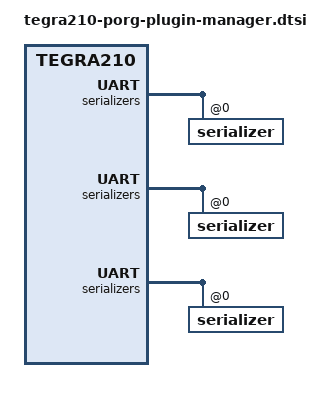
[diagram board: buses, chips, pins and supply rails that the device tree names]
/*
 * Copyright (c) 2019-2020, NVIDIA CORPORATION.  All rights reserved.
 *
 * This program is free software; you can redistribute it and/or modify
 * it under the terms of the GNU General Public License as published by
 * the Free Software Foundation; version 2 of the License.
 *
 * This program is distributed in the hope that it will be useful, but WITHOUT
 * ANY WARRANTY; without even the implied warranty of MERCHANTABILITY or
 * FITNESS FOR A PARTICULAR PURPOSE.  See the GNU General Public License for
 * more details.
 *
 */

/ {
	plugin-manager {
		fragement@0 {
			ids = ">=3448-0000-100", ">=3448-0002-100";
			override@0 {
				target = <&ina3221x>;
				_overlay_ {
					channel@0 {
						ti,rail-name = "POM_5V_IN";
					};
					channel@1 {
						ti,rail-name = "POM_5V_GPU";
					};
				};
			};

		};

		fragment@1 {
			ids = ">=3448-0000-101", ">=3448-0002-101", ">=3448-0003-400";
			override@0 {
				target = <&max77620_sd0>;
				_overlay_ {
					regulator-min-microvolt = <600000>;
				};
			};
		};

		fragment@2 {
			ids = "<3448-0000-200", "<3448-0002-200";
			override@0 {
				target = <&tegra_i2s1>;
				_overlay_ {
					regulator-supplies = "vdd-1v8-audio-hv", "vdd-1v8-audio-hv-bias";
					vdd-1v8-audio-hv-supply = <&max77620_sd3>;
					vdd-1v8-audio-hv-bias-supply = <&max77620_sd3>;
					fsync-width = <15>;
					status = "okay";
				};
			};

			override@1 {
				target = <&tegra_i2s4>;
				_overlay_ {
					status = "disabled";
				};
			};

			override@2 {
				target = <&tegra_sound>;
				_overlay_ {
					nvidia,dai-link-1 {
						cpu-dai = <&tegra_i2s1>;
						cpu-dai-name = "I2S1";
					};
				};
			};
		};

		fragment@3 {
			ids = ">=3448-0002-100";
			override@0 {
				target = <&sdhci3>;
				_overlay_ {
					status = "okay";
				};
			};

			override@1 {
				target = <&sdhci0>;
				_overlay_ {
					status = "disabled";
				};
			};
		};

		fragment@4 {
			ids = "3449-0000-000";
			override@0 {
				target = <&suspend_gpio>;
				_overlay_ {
					status = "disabled";
				};
			};

			override@1 {
				target = <&p3449_vdd_usb_hub_en>;
				_overlay_ {
					gpio = <&gpio TEGRA_GPIO(A, 6) 0>;
					enable-active-low;
					gpio-open-drain;
				};
			};

			override@2 {
				target = <&{/xusb_padctl@7009f000/ports/usb2-1}>;
				_overlay_ {
					vbus-supply = <&p3449_vdd_usb_hub_en>;
				};
			};
		};

		fragment@5 {
			ids = "3449-0000-100", "3449-0000-200";
			override@0 {
				target = <&suspend_gpio>;
				_overlay_ {
					status = "disabled";
				};
			};

			override@1 {
				target = <&p3449_vdd_usb_hub_en>;
				_overlay_ {
					gpio = <&gpio TEGRA_GPIO(A, 6) 0>;
					enable-active-high;
				};
			};

			override@2 {
				target = <&{/xusb_padctl@7009f000/ports/usb2-1}>;
				_overlay_ {
					vbus-supply = <&p3449_vdd_usb_hub_en>;
				};
			};
		};

		fragement@6 {
                        odm-data = "enable-tegra-wdt";
                        override@0 {
                                target = <&tegra_wdt>;
                                _overlay_ {
                                        status = "okay";
                                };
                        };
                };

                fragement@7 {
                        odm-data = "enable-pmic-wdt";
                        override@0 {
                                target = <&spmic_wdt>;
                                _overlay_ {
                                        status = "okay";
                                };
                        };
                };

                fragement@8 {
                        odm-data = "enable-pmic-wdt",
                                "enable-tegra-wdt";
                        override@0 {
                                target = <&soft_wdt>;
                                _overlay_ {
                                        status = "disabled";
                                };
                        };
                };

		fragement@9 {
			ids = "<3448-0000-300", "<3448-0002-300" , ">=3448-0003-000";
			override@0 {
				target = <&max77620_ldo6>;
				_overlay_ {
                                        status = "disabled";
				};
			};
			override@1 {
				target = <&sdhci2>;
				_overlay_ {
					keep-power-in-suspend;
					non-removable;
				};
			};

			/* VEYE327 single sensor module */
			override@2 {
				target = <&veye327_single_cam0>;
				_overlay_ {
					status = "okay";
					mode0{
                    				discontinuous_clk = "yes";
						serdes_pix_clk_hz = "800000000";
					};
				};
			};
			override@3 {
				target = <&cam_module0>;
				_overlay_ {
					status = "okay";
					badge = "porg_front_veye327";
					position = "front";
					orientation = "1";
				};
			};
			override@4 {
				target = <&cam_module0_drivernode0>;
				_overlay_ {
					status = "okay";
					pcl_id = "v4l2_sensor";
					devname = "veye327 6-003b";
					proc-device-tree = "/proc/device-tree/host1x/i2c@546c0000/rbpcv2_veye327_a@3b";
				};
			};
			/*override@5 {
				target = <&cam_module0_drivernode1>;
				_overlay_ {
					status = "okay";
					pcl_id = "v4l2_lens";
					proc-device-tree = "/proc/device-tree/lens_imx219@RBPCV2/";
				};
			};*/

			/* Enable VI ports */
			override@5 {
				target = <&vi_base>;
				_overlay_ {
					num-channels=<1>;
				};
			};
			override@6 {
				target = <&vi_port0>;
				_overlay_ {
					status = "okay";
				};
			};
			override@7 {
				target = <&rbpcv2_veye327_vi_in0>;
				_overlay_ {
					status = "okay";
					port-index = <0>;
					bus-width = <2>;
					remote-endpoint = <&rbpcv2_veye327_csi_out0>;
				};
			};
			/* Enable CSI ports */
			override@8 {
				target = <&csi_base>;
				_overlay_ {
					num-channels=<1>;
				};
			};
			override@9 {
				target = <&csi_chan0>;
				_overlay_ {
					status = "okay";
				};
			};
			override@10 {
				target = <&csi_chan0_port0>;
				_overlay_ {
					status = "okay";
				};
			};
			override@11 {
				target = <&rbpcv2_veye327_csi_in0>;
				_overlay_ {
					status = "okay";
					port-index = <0>;
					bus-width = <2>;
					remote-endpoint = <&rbpcv2_veye327_out0>;
				};
			};
			override@12 {
				target = <&csi_chan0_port1>;
				_overlay_ {
					status = "okay";
				};
			};
			override@13 {
				target = <&rbpcv2_veye327_csi_out0>;
				_overlay_ {
					status = "okay";
					remote-endpoint = <&rbpcv2_veye327_vi_in0>;
				};
			};
			/* tegra-camera-platform settings */
			override@14 {
				target = <&tcp>;
				_overlay_ {
					num_csi_lanes = <2>;
					max_lane_speed = <1500000>;
					min_bits_per_pixel = <8>;
					vi_peak_byte_per_pixel = <2>;
					vi_bw_margin_pct = <25>;
					max_pixel_rate = <240000>;
					isp_peak_byte_per_pixel = <5>;
					isp_bw_margin_pct = <25>;
				};
			};
			/*fpd link 3 */
		            override@15 {
						target = <&single_fpdlink0>;
						_overlay_ {
							status = "okay";
		                            serializers {
		                            	serializer@0{
		                            	continuous-clock;
		                            };
		                        };
			    	};
			    };
			override@16 {
				target = <&cam_module1>;
				_overlay_ {
					status = "disabled";
				};
			};
		};

		fragement@10 {
			ids = ">=3448-0000-300", ">=3448-0002-300";
			
			/* VEYE327 dual sensor module */
			override@0 {
				target = <&veye327_cam0>;
				_overlay_ {
					status = "okay";
					mode0{
                    				discontinuous_clk = "yes";
						serdes_pix_clk_hz = "800000000";
					};
				};
			};
			override@1 {
				target = <&cam_module0>;
				_overlay_ {
					status = "okay";
					badge = "porg_front_veye327";
					position = "front";
					orientation = "1";
				};
			};
			override@2 {
				target = <&cam_module0_drivernode0>;
				_overlay_ {
					status = "okay";
					pcl_id = "v4l2_sensor";
					devname = "veye327 7-003b";
					proc-device-tree = "/proc/device-tree/cam_i2cmux/i2c@0/rbpcv2_veye327_a@3b";
				};
			};

			override@3 {
				target = <&veye327_cam1>;
				_overlay_ {
					status = "okay";
					mode0{
                    			discontinuous_clk = "yes";
					serdes_pix_clk_hz = "800000000";
					};
				};
			};
			override@4 {
				target = <&cam_module1>;
				_overlay_ {
					status = "okay";
					badge = "porg_rear_veye327";
					position = "rear";
					orientation = "1";
				};
			};
			override@5 {
				target = <&cam_module1_drivernode0>;
				_overlay_ {
					status = "okay";
					pcl_id = "v4l2_sensor";
					devname = "veye327 8-003b";
					proc-device-tree = "/proc/device-tree/cam_i2cmux/i2c@1/rbpcv2_veye327_e@3b";
				};
			};
			/* Enable VI ports */
			override@6 {
				target = <&vi_base>;
				_overlay_ {
					num-channels=<2>;
				};
			};
			override@7 {
				target = <&vi_port0>;
				_overlay_ {
					status = "okay";
				};
			};
			override@8 {
				target = <&vi_port1>;
				_overlay_ {
					status = "okay";
				};
			};
			override@9 {
				target = <&rbpcv2_veye327_vi_in0>;
				_overlay_ {
					status = "okay";
					port-index = <0>;
					bus-width = <2>;
					remote-endpoint = <&rbpcv2_veye327_csi_out0>;
				};
			};
			override@10 {
				target = <&rbpcv2_veye327_vi_in1>;
				_overlay_ {
					status = "okay";
					port-index = <4>;
					bus-width = <2>;
					remote-endpoint = <&rbpcv2_veye327_csi_out1>;
				};
			};
			/* Enable CSI ports */
			override@11 {
				target = <&csi_base>;
				_overlay_ {
					num-channels = <2>;
				};
			};
			override@12 {
				target = <&csi_chan0>;
				_overlay_ {
					status = "okay";
				};
			};
			override@13 {
				target = <&csi_chan0_port0>;
				_overlay_ {
					status = "okay";
				};
			};
			override@14 {
				target = <&rbpcv2_veye327_csi_in0>;
				_overlay_ {
					status = "okay";
					port-index = <0>;
					bus-width = <2>;
					remote-endpoint = <&rbpcv2_veye327_dual_out0>;
				};
			};
			override@15 {
				target = <&csi_chan0_port1>;
				_overlay_ {
					status = "okay";
				};
			};
			override@16 {
				target = <&rbpcv2_veye327_csi_out0>;
				_overlay_ {
					status = "okay";
				};
			};
			override@17 {
				target = <&csi_chan1>;
				_overlay_ {
					status = "okay";
				};
			};
			override@18 {
				target = <&csi_chan1_port0>;
				_overlay_ {
					status = "okay";
				};
			};
			override@19 {
				target = <&rbpcv2_veye327_csi_in1>;
				_overlay_ {
					status = "okay";
					port-index = <4>;
					bus-width = <2>;
					remote-endpoint = <&rbpcv2_veye327_dual_out1>;
				};
			};
			override@20 {
				target = <&csi_chan1_port1>;
				_overlay_ {
					status = "okay";
				};
			};
			override@21 {
				target = <&rbpcv2_veye327_csi_out1>;
				_overlay_ {
					status = "okay";
				};
			};
			/* tegra-camera-platform settings */
			override@22 {
				target = <&tcp>;
				_overlay_ {
					num_csi_lanes = <4>;
					max_lane_speed = <1500000>;
					min_bits_per_pixel = <10>;
					vi_peak_byte_per_pixel = <2>;
					vi_bw_margin_pct = <25>;
					max_pixel_rate = <240000>;
					isp_peak_byte_per_pixel = <5>;
					isp_bw_margin_pct = <25>;
				};
			};
			/* gpio based i2c mux */
			override@23 {
				target = <&{/cam_i2cmux}>;
				_overlay_ {
					status = "okay";
				};
			};
			override@24 {
				target = <&i2c_0>;
				_overlay_ {
					status = "okay";
				};
			};
			override@25 {
				target = <&i2c_1>;
				_overlay_ {
					status = "okay";
				};
			};
			/* fpdlink3 module */
			override@26 {
				target = <&fpdlink0>;
				_overlay_ {
					status = "okay";
                    serializers {
                            serializer@0{
                            continuous-clock;
                            };
                        };
				};
			};
	            	override@27 {
					target = <&fpdlink1>;
					_overlay_ {
						status = "okay";
				                        serializers {
				                            serializer@0{
				                            continuous-clock;
				                            };
							};
                        			};
					};
				};
	fragment@12 {
			ids = ">=3448-0003-400";
			override@0 {
				target = <&sdhci3>;
				_overlay_ {
					status = "disabled";
				};
			};

			override@1 {
				target = <&sdhci0>;
				_overlay_ {
					status = "okay";
				};
			};
		};

		fragement@13 {
			ids = ">=3448-0000-300", ">=3448-0002-300", ">=3448-0003-400";
			override@0 {
				target = <&{/pcie@1003000/pci@2,0}>;
				_overlay_ {
					nvidia,plat-gpios = <&gpio TEGRA_GPIO(CC, 7) GPIO_ACTIVE_HIGH>;
				};
			};
			override@1 {
				target = <&sdhci2>;
				_overlay_ {
					vqmmc-supply = <&max77620_ldo6>;
					no-sdio;
					no-mmc;
					sd-uhs-sdr104;
					sd-uhs-sdr50;
					sd-uhs-sdr25;
					sd-uhs-sdr12;
				};
			};
			override@2 {
				target = <&throttle_oc1>;
				_overlay_ {
					nvidia,priority = <50>;
					nvidia,polarity-active-low = <1>;
					nvidia,count-threshold = <1>;
					nvidia,alarm-filter = <5100000>;
					nvidia,alarm-period = <0>;
					nvidia,cpu-throt-percent = <75>;
					nvidia,gpu-throt-level =
						<TEGRA_SOCTHERM_THROT_LEVEL_HIGH>;
				};
			};
			override@3 {
				target = <&{/leds}>;
				_overlay_ {
					status = "okay";
				};
			};
		};
	};
};
